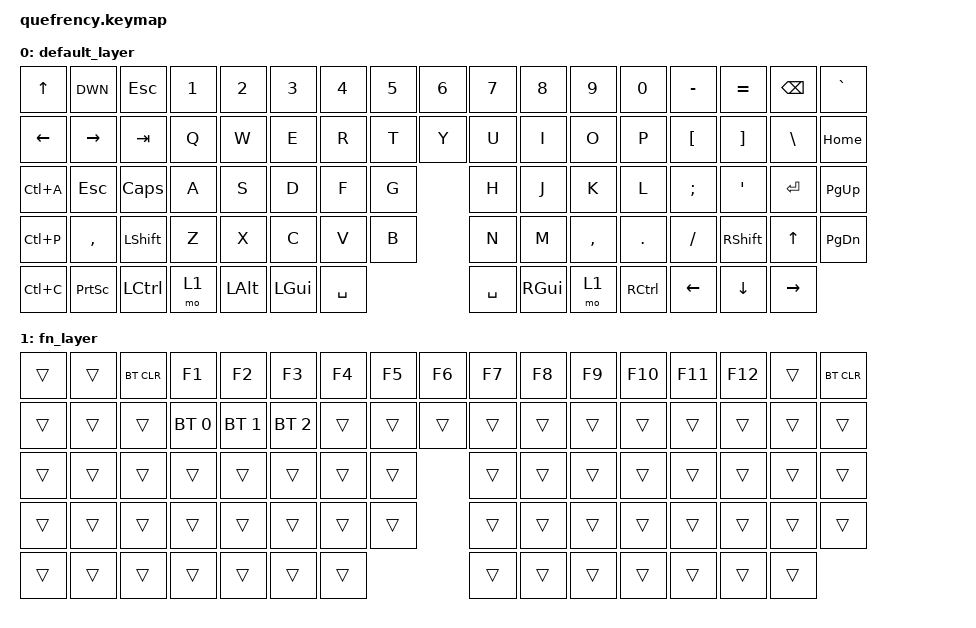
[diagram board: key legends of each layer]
/*
 * Copyright (c) 2020 The ZMK Contributors
 *
 * SPDX-License-Identifier: MIT
 */

#include <behaviors.dtsi>
#include <dt-bindings/zmk/bt.h>
#include <dt-bindings/zmk/keys.h>


/ {
    keymap {
        compatible = "zmk,keymap";

// ----------------------------------------------                               -----------------------------------------------------
// | UP | | DWN | ESC |  1   |  2  |  3   |  4  |  5  |  6  |                        |  7  |  8  |  9  |  0  |  -  |  =  |  BKSPC |  DEL   |
// | LFT | RGHT | TAB   |  Q   |  W  |  E   |  R  |  T  |                         |  Y  |  U  |  I  |  O  |  P  |  [  |  ]  |  \  | INSERT  |
// | SELECT | LAYER | CAPS   |  A   |  S  |  D   |  F  |  G  |                         |  H  |  J  |  K  |  L  |  ;  |  '  |   ENTER  | PGUP |
// | PASTE | COMMA | SHIFT   |  Z   |  X  |  C  |  V   |  B  |                         |  N  |  M  |  ,  |  .  |  /  |  RSHFT  |  UP | PGDN |
// | COPY | PRINT| LCTRL   | Layer? | LALT |   LGUI   | SPACE  |                        |    SPACE    | RGUI | FN | RCTRL | LFT | DWN | RGHT |
// -------------------------------------------                                   ------------------------------------------------------

        default_layer {
            bindings = <
    &kp UP     &kp DWN    &kp ESC   &kp N1    &kp N2   &kp N3    &kp N4 &kp N5 &kp N6 /**/ &kp N7    &kp N8   &kp N9    &kp N0    &kp MINUS &kp EQUAL &kp BSPC &kp GRAVE
    &kp LEFT   &kp RIGHT  &kp TAB   &kp Q     &kp W    &kp E     &kp R  &kp T        /**/  &kp Y     &kp U    &kp I     &kp O     &kp P     &kp LBKT  &kp RBKT &kp BSLH &kp HOME
    &kp LC(A)  &kp ESC    &kp CAPS  &kp A      &kp S    &kp D     &kp F  &kp G         /**/  &kp H     &kp J    &kp K     &kp L     &kp SEMI  &kp SQT   &kp RET  &kp PG_UP
    &kp LC(P)  &kp COMMA  &kp LSHFT &kp Z     &kp X    &kp C     &kp V  &kp B         /**/ &kp N     &kp M    &kp COMMA &kp DOT   &kp FSLH  &kp RSHFT &kp UP   &kp PG_DN
    &kp LC(C)  &kp PSCRN  &kp LCTRL &mo 1     &kp LALT &kp LGUI  &kp SPACE            /**/ &kp SPACE &kp RGUI &mo 1     &kp RCTRL &kp LEFT  &kp DOWN  &kp RIGHT
            >;
        };

// ----------------------------------------------     -----------------------------------------------------
// | | |BT_CLR|  F1  |  F2 |  F3  |  F4 |  F5 |  F6 |     |  F7 |  F8 |  F9 | F10 | F11 | F12 |        |BT_CLR|
// | | |       | BT-0 | BT-1| BT-2 |     |     |       |     |     |     |     |     |     |     |     |      |
// | | |        |      |     |      |     |     |       |     |     |     |     |     |     |          |      |
// | | |         |      |     |     |      |     |       |     |     |     |     |     |         |     |      |
// | | |         |      |      |           |     |       |             |      |    |       |     |     |      |
// -------------------------------------------       ------------------------------------------------------

        fn_layer {
            bindings = <
    &trans  &trans  &bt BT_CLR &kp F1       &kp F2       &kp F3       &kp F4 &kp F5 &kp F6 /**/ &kp F7 &kp F8 &kp F9 &kp F10 &kp F11 &kp F12 &trans &bt BT_CLR
    &trans  &trans  &trans     &bt BT_SEL 0 &bt BT_SEL 1 &bt BT_SEL 2 &trans &trans        /**/ &trans &trans &trans &trans  &trans  &trans  &trans &trans &trans
    &trans  &trans  &trans     &trans       &trans       &trans       &trans &trans        /**/ &trans &trans &trans &trans  &trans  &trans  &trans &trans
    &trans  &trans  &trans     &trans       &trans       &trans       &trans &trans        /**/ &trans &trans &trans &trans  &trans  &trans  &trans &trans
    &trans  &trans  &trans     &trans       &trans       &trans       &trans               /**/ &trans &trans &trans &trans  &trans  &trans  &trans
            >;
        };
    };
};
